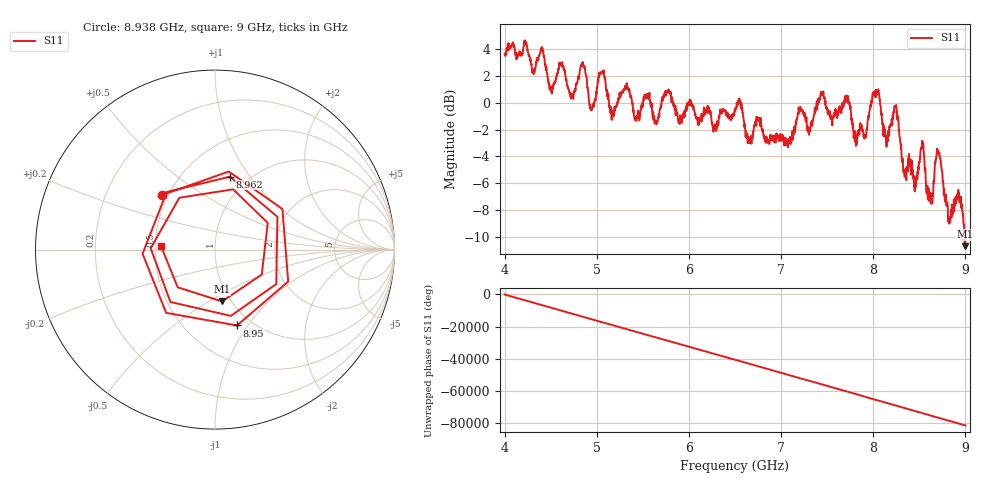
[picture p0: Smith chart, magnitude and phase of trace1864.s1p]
! Created with skrf 1.8.0 (http://scikit-rf.org).
# Hz S RI R 50.0
!freq ReS11 ImS11
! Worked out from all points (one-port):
!   1601 points, 4 GHz to 9 GHz, reference 50 ohm
!   lowest |S11| = -10.7 dB at 8.994 GHz (marker M1), VSWR 1.82, Z = 45.4 - j28.7 ohm
!   |S11| at or under -10 dB: 8.989121 GHz to end of sweep
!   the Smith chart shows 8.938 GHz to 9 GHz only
!   S11 on the Smith chart (normalised r, x): 8.938 GHz: 0.46, +0.34; 8.95 GHz: 0.85, -0.89; 8.962 GHz: 0.82, +0.81; 9 GHz: 0.54, +0.03
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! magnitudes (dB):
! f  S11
! 4 GHz  3.6
! 4.503 GHz  0.9
! 4.625 GHz  3.0
! 4.725 GHz  0.5
! 4.85 GHz  2.8
! 4.944 GHz  -0.5
! 5.05 GHz  2.3
! 5.162 GHz  -1.3
! 5.25 GHz  0.5
! 5.875 GHz  -0.8
! 6.5 GHz  -0.6
! 7.125 GHz  -2.8
! 7.441 GHz  0.7
! 7.75 GHz  -0.4
! 7.809 GHz  -2.5
! 8.012 GHz  0.9
! 8.134 GHz  -2.5
! 8.244 GHz  -0.2
! 8.375 GHz  -5.1
! 8.531 GHz  -2.8
! 8.616 GHz  -6.7
! 8.706 GHz  -3.6
! 8.819 GHz  -8.5
! 8.938 GHz  -7.5
! 8.95 GHz  -7.1
! 8.962 GHz  -7.6
! 8.994 GHz  -10.7
! 9 GHz  -10.4
